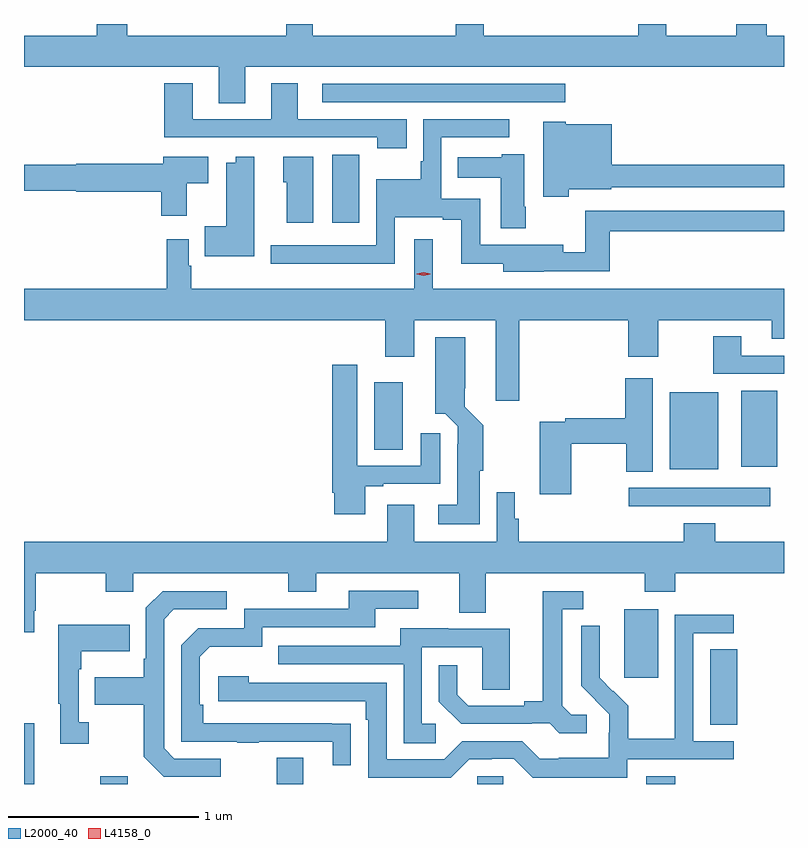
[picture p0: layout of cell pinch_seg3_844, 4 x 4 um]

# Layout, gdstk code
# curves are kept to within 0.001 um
import gdstk
lib = gdstk.Library(unit=1e-6, precision=1e-09)
def R(c, l, rs):  # rectangles x0, y0, x1, y1
    for r in rs: c.add(gdstk.rectangle(r[:2], r[2:], *l))
def P(c, l, *ps):  # polygons
    for p in ps: c.add(gdstk.Polygon(p, *l))
L2000_40 = (2000, 40)
L4158_0 = (4158, 0)

pinch_seg3_844 = lib.new_cell('pinch_seg3_844')
R(pinch_seg3_844, L2000_40, [(707.862,719.786,707.917,720.106), (708.262,719.786,708.409,719.827), (709.193,719.786,709.333,719.923), (710.247,719.786,710.385,719.826), (711.137,719.786,711.29,719.827), (711.473,720.097,711.617,720.494), (711.02,720.345,711.199,720.706), (711.045,721.248,711.79,721.344), (711.26,721.442,711.517,721.849), (711.638,721.457,711.826,721.855), (709.706,721.546,709.855,721.9), (709.484,722.739,709.627,723.097), (709.431,723.375,710.71,723.471)])
P(pinch_seg3_844, L2000_40, [(711.862,723.724),(711.77,723.724),(711.77,723.786),(711.61,723.786),(711.61,723.724),(711.243,723.724),(711.243,723.786),(711.096,723.786),(711.096,723.724),(710.283,723.724),(710.283,723.786),(710.135,723.786),(710.135,723.724),(709.381,723.724),(709.381,723.786),(709.241,723.786),(709.241,723.724),(708.405,723.724),(708.405,723.786),(708.245,723.786),(708.245,723.724),(707.862,723.724),(707.862,723.56),(708.887,723.56),(708.887,723.37),(709.027,723.37),(709.027,723.56),(711.862,723.56)],
  [(709.877,723.285),(709.303,723.285),(709.303,723.475),(709.163,723.475),(709.163,723.285),(708.751,723.285),(708.751,723.475),(708.599,723.475),(708.599,723.189),(709.721,723.189),(709.721,723.132),(709.877,723.132)],
  [(710.597,722.484),(710.945,722.484),(710.945,722.694),(711.862,722.694),(711.862,722.802),(710.817,722.802),(710.817,722.585),(710.701,722.585),(710.701,722.623),(710.263,722.623),(710.263,722.865),(710.058,722.865),(710.058,723.189),(710.416,723.189),(710.416,723.285),(709.962,723.285),(709.962,723.064),(709.95,723.064),(709.95,722.968),(709.716,722.968),(709.716,722.622),(709.16,722.622),(709.16,722.525),(709.812,722.525),(709.812,722.769),(710.066,722.769),(710.066,722.757),(710.162,722.757),(710.162,722.525),(710.384,722.525),(710.384,722.483),(710.597,722.483)],
  [(710.729,722.915),(710.952,722.915),(710.952,722.928),(711.862,722.928),(711.862,723.044),(710.956,723.044),(710.956,723.259),(710.712,723.259),(710.712,723.271),(710.594,723.271),(710.594,722.876),(710.729,722.876)],
  [(710.502,722.824),(710.494,722.824),(710.494,723.1),(710.376,723.1),(710.376,723.085),(710.145,723.085),(710.145,722.978),(710.372,722.978),(710.372,722.712),(710.502,722.712)],
  [(708.718,722.948),(708.832,722.948),(708.832,723.088),(708.596,723.088),(708.596,723.05),(708.138,723.05),(708.138,723.044),(707.862,723.044),(707.862,722.908),(708.138,722.908),(708.138,722.903),(708.584,722.903),(708.584,722.778),(708.718,722.778)],
  [(709.075,723.088),(708.977,723.088),(708.977,723.055),(708.926,723.055),(708.926,722.722),(708.814,722.722),(708.814,722.564),(709.075,722.564)],
  [(709.384,723.088),(709.226,723.088),(709.226,722.952),(709.244,722.952),(709.244,722.739),(709.384,722.739)],
  [(708.613,722.653),(708.613,722.392),(707.862,722.392),(707.862,722.228),(709.763,722.228),(709.763,722.034),(709.915,722.034),(709.915,722.228),(710.345,722.228),(710.345,721.803),(710.468,721.803),(710.468,722.228),(711.041,722.228),(711.041,722.034),(711.201,722.034),(711.201,722.228),(711.797,722.228),(711.797,722.129),(711.862,722.129),(711.862,722.392),(710.014,722.392),(710.014,722.653),(709.917,722.653),(709.917,722.392),(708.742,722.392),(708.742,722.514),(708.729,722.514),(708.729,722.653)],
  [(711.862,722.04),(711.637,722.04),(711.637,722.143),(711.49,722.143),(711.49,721.944),(711.862,721.944)],
  [(710.26,721.434),(710.278,721.434),(710.278,721.675),(710.181,721.772),(710.181,721.87),(710.185,721.87),(710.185,722.137),(710.027,722.137),(710.027,721.734),(710.079,721.734),(710.145,721.668),(710.145,721.574),(710.141,721.574),(710.141,721.255),(710.043,721.255),(710.043,721.154),(710.26,721.154)],
  [(709.657,721.353),(709.753,721.353),(709.753,721.365),(710.053,721.365),(710.053,721.633),(709.949,721.633),(709.949,721.461),(709.615,721.461),(709.615,721.993),(709.484,721.993),(709.484,721.318),(709.496,721.318),(709.496,721.206),(709.657,721.206)],
  [(710.742,721.576),(711.031,721.576),(711.031,721.429),(711.172,721.429),(711.172,721.921),(711.026,721.921),(711.026,721.712),(710.71,721.712),(710.71,721.692),(710.576,721.692),(710.576,721.311),(710.742,721.311)],
  [(707.917,720.697),(707.925,720.697),(707.925,720.896),(708.292,720.896),(708.292,720.797),(708.438,720.797),(708.438,720.896),(709.252,720.896),(709.252,720.797),(709.399,720.797),(709.399,720.896),(710.153,720.896),(710.153,720.688),(710.293,720.688),(710.293,720.896),(711.13,720.896),(711.13,720.797),(711.29,720.797),(711.29,720.896),(711.862,720.896),(711.862,721.06),(711.5,721.06),(711.5,721.159),(711.335,721.159),(711.335,721.06),(710.465,721.06),(710.465,721.182),(710.446,721.182),(710.446,721.321),(710.349,721.321),(710.349,721.06),(709.915,721.06),(709.915,721.255),(709.775,721.255),(709.775,721.06),(707.862,721.06),(707.862,720.585),(707.917,720.585)],
  [(709.583,720.104),(708.806,720.105),(708.806,720.202),(708.786,720.202),(708.786,720.456),(708.839,720.509),(709.116,720.509),(709.116,720.612),(709.711,720.612),(709.711,720.708),(709.936,720.708),(709.936,720.804),(709.571,720.804),(709.571,720.708),(709.02,720.708),(709.02,720.606),(708.78,720.606),(708.69,720.516),(708.69,720.009),(708.985,720.009),(708.985,720.004),(709.097,720.004),(709.097,720.009),(709.487,720.009),(709.487,719.886),(709.583,719.886)],
  [(710.824,720.15),(710.742,720.15),(710.695,720.197),(710.695,720.705),(710.806,720.705),(710.806,720.801),(710.591,720.801),(710.591,720.221),(710.495,720.221),(710.495,720.198),(710.2,720.198),(710.143,720.255),(710.143,720.412),(710.046,720.412),(710.046,720.218),(710.162,720.102),(710.534,720.102),(710.534,720.105),(710.628,720.105),(710.68,720.053),(710.824,720.053)],
  [(708.898,719.919),(708.654,719.919),(708.6,719.973),(708.6,720.654),(708.651,720.705),(708.928,720.705),(708.928,720.801),(708.591,720.801),(708.504,720.714),(708.504,720.445),(708.492,720.445),(708.492,720.349),(708.235,720.349),(708.235,720.202),(708.492,720.202),(708.492,719.929),(708.597,719.823),(708.898,719.823)],
  [(711.036,719.916),(711.598,719.916),(711.598,720.012),(711.384,720.012),(711.384,720.579),(711.598,720.579),(711.598,720.678),(711.288,720.678),(711.288,720.248),(711.286,720.248),(711.286,720.025),(711.041,720.025),(711.041,720.199),(710.964,720.276),(710.961,720.273),(710.891,720.344),(710.892,720.62),(710.796,720.62),(710.796,720.302),(710.942,720.154),(710.942,720.057),(710.94,720.057),(710.94,719.923),(710.677,719.923),(710.677,719.919),(710.577,719.919),(710.484,720.012),(710.169,720.012),(710.073,719.916),(709.77,719.916),(709.77,720.318),(709.046,720.318),(709.046,720.352),(708.885,720.352),(708.885,720.222),(709.661,720.222),(709.661,720.125),(709.674,720.125),(709.674,719.82),(710.109,719.82),(710.205,719.916),(710.324,719.916),(710.324,719.919),(710.439,719.919),(710.539,719.819),(711.036,719.819)],
  [(708.202,720.11),(708.15,720.11),(708.15,720.389),(708.163,720.389),(708.163,720.485),(708.419,720.485),(708.419,720.625),(708.042,720.625),(708.042,720.209),(708.053,720.209),(708.053,719.997),(708.202,719.997)],
  [(710.029,720.102),(709.956,720.102),(709.956,720.507),(710.274,720.507),(710.274,720.283),(710.419,720.283),(710.419,720.603),(710.095,720.603),(710.095,720.607),(709.841,720.607),(709.841,720.513),(709.201,720.513),(709.201,720.417),(709.86,720.417),(709.86,720.001),(710.029,720.001)])
P(pinch_seg3_844, L4158_0, [(709.965,722.46),(709.93,722.47),(709.93,722.47),(709.93,722.471),(709.965,722.48),(710.001,722.471),(710.001,722.47),(710.001,722.47)])

lib.write_gds('pinch_seg3_844.gds')
